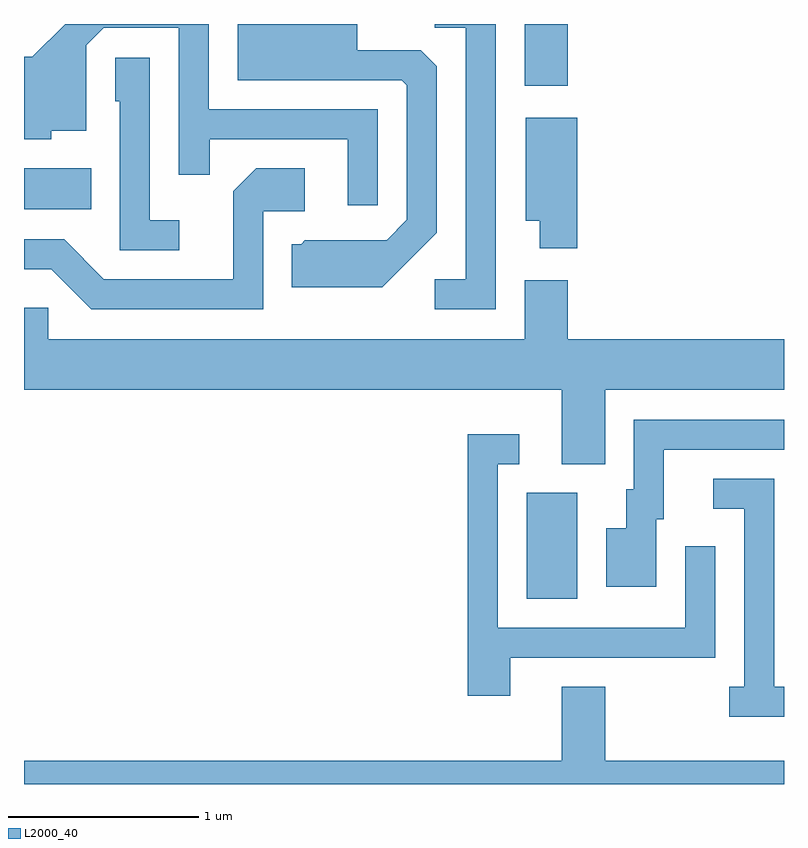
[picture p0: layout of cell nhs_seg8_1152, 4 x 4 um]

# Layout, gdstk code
import gdstk
lib = gdstk.Library(unit=1e-6, precision=1e-09)
def R(c, l, rs):  # rectangles x0, y0, x1, y1
    for r in rs: c.add(gdstk.rectangle(r[:2], r[2:], *l))
def P(c, l, *ps):  # polygons
    for p in ps: c.add(gdstk.Polygon(p, *l))
L2000_40 = (2000, 40)

nhs_seg8_1152 = lib.new_cell('nhs_seg8_1152')
R(nhs_seg8_1152, L2000_40, [(222.256,1835.316,222.524,1835.874), (219.611,1837.366,219.964,1837.584), (222.246,1838.016,222.474,1838.342)])
P(nhs_seg8_1152, L2000_40, [(222.094,1838.342),(221.773,1838.342),(221.773,1838.321),(221.936,1838.321),(221.936,1836.999),(221.773,1836.999),(221.773,1836.841),(222.094,1836.841)],
  [(221.784,1837.244),(221.784,1838.119),(221.699,1838.204),(221.364,1838.204),(221.364,1838.342),(220.736,1838.342),(220.736,1838.046),(221.599,1838.046),(221.626,1838.019),(221.626,1837.312),(221.519,1837.204),(221.089,1837.204),(221.069,1837.184),(221.021,1837.184),(221.021,1836.956),(221.497,1836.956)],
  [(221.474,1837.894),(220.584,1837.894),(220.584,1838.342),(219.827,1838.342),(219.654,1838.169),(219.611,1838.169),(219.611,1837.736),(219.754,1837.736),(219.754,1837.781),(219.939,1837.781),(219.939,1838.229),(220.032,1838.321),(220.426,1838.321),(220.426,1837.548),(220.589,1837.548),(220.589,1837.736),(221.316,1837.736),(221.316,1837.388),(221.474,1837.388)],
  [(220.428,1837.309),(220.274,1837.309),(220.274,1838.164),(220.091,1838.164),(220.091,1837.936),(220.116,1837.936),(220.116,1837.151),(220.428,1837.151)],
  [(222.524,1837.849),(222.251,1837.849),(222.251,1837.306),(222.326,1837.306),(222.326,1837.161),(222.524,1837.161)],
  [(220.869,1837.356),(221.089,1837.356),(221.089,1837.584),(220.834,1837.584),(220.711,1837.462),(220.711,1836.999),(220.032,1836.999),(219.822,1837.209),(219.611,1837.209),(219.611,1837.051),(219.754,1837.051),(219.964,1836.841),(220.869,1836.841)],
  [(222.669,1836.416),(223.611,1836.416),(223.611,1836.684),(222.474,1836.684),(222.474,1836.994),(222.246,1836.994),(222.246,1836.684),(219.739,1836.684),(219.739,1836.849),(219.611,1836.849),(219.611,1836.416),(222.441,1836.416),(222.441,1836.026),(222.669,1836.026)],
  [(222.939,1835.736),(222.979,1835.736),(222.979,1836.101),(223.611,1836.101),(223.611,1836.259),(222.821,1836.259),(222.821,1835.894),(222.781,1835.894),(222.781,1835.689),(222.676,1835.689),(222.676,1835.381),(222.939,1835.381)],
  [(222.169,1835.006),(223.249,1835.006),(223.249,1835.593),(223.091,1835.593),(223.091,1835.164),(222.104,1835.164),(222.104,1836.026),(222.218,1836.026),(222.218,1836.184),(221.946,1836.184),(221.946,1834.806),(222.169,1834.806)],
  [(223.611,1834.854),(223.559,1834.854),(223.559,1835.949),(223.238,1835.949),(223.238,1835.791),(223.401,1835.791),(223.401,1834.854),(223.323,1834.854),(223.323,1834.696),(223.611,1834.696)],
  [(223.611,1834.464),(222.669,1834.464),(222.669,1834.854),(222.441,1834.854),(222.441,1834.464),(219.611,1834.464),(219.611,1834.342),(223.611,1834.342)])

lib.write_gds('nhs_seg8_1152.gds')
